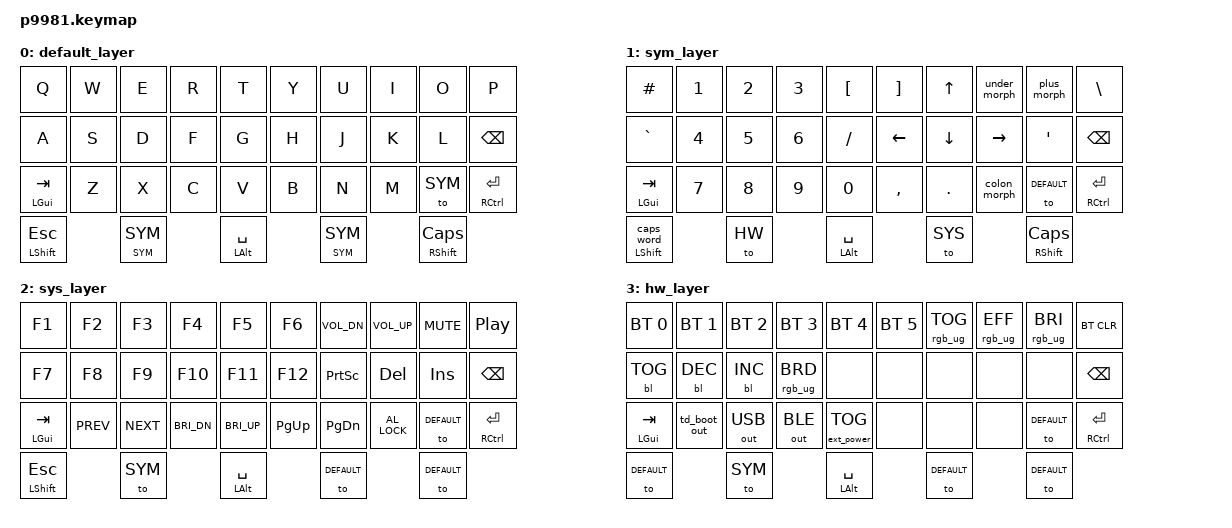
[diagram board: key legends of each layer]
/*
 * Copyright (c) 2023-2025 ZitaoTech
 * Customized for PilotXing (with hardware-safe mod-morph)
 * SPDX-License-Identifier: MIT
 */

#include <behaviors.dtsi>
#include <dt-bindings/zmk/keys.h>
#include <dt-bindings/zmk/bt.h>
#include <dt-bindings/zmk/outputs.h>
#include <dt-bindings/zmk/mouse.h>
#include <dt-bindings/zmk/backlight.h>
#include <dt-bindings/zmk/ext_power.h>
#include <dt-bindings/zmk/rgb.h>

#define DEFAULT 0
#define SYM     1
#define SYS     2
#define HW      3

#define SL_MO(layer) &sl_mo layer layer

&sl {
    release-after-ms = <3000>;
};

&mt {
    flavor = "balanced";
    tapping-term-ms = <200>;
    quick-tap-ms = <150>;
};

/ {
    behaviors {
        // --- 1. Original Factory Behaviors (Preserved 100% in exact order to prevent ID shifting) ---
        td0: tap_dance_0 {
            compatible = "zmk,behavior-tap-dance";
            #binding-cells = <0>;
            tapping-term-ms = <400>;
            bindings = <&mkp LCLK>, <&bt BT_CLR>;
        };

        td_boot_out: td_boot_out {
            compatible = "zmk,behavior-tap-dance";
            #binding-cells = <0>;
            tapping-term-ms = <400>;            
            bindings = <&bootloader>, <&out OUT_TOG>;
        };

        tdc_to_SYM: td_comma_to_layer {
            compatible = "zmk,behavior-tap-dance";
            #binding-cells = <0>;
            tapping-term-ms = <400>;
            bindings = <&kp SEMI>, <&to SYM>;
        };

        tdc_to_MEDIA: td_mute_to_layer {
            compatible = "zmk,behavior-tap-dance";
            #binding-cells = <0>;
            tapping-term-ms = <400>;
            bindings = <&kp C_MUTE>, <&to SYS>;
        };

        td_kp_bleclear: td_kp_bleclear {
            compatible = "zmk,behavior-tap-dance";
            #binding-cells = <0>;
            tapping-term-ms = <400>;            
            bindings = <&kp SPACE>, <&bt BT_CLR>;
        };

        hm: homerow_mods {
            compatible = "zmk,behavior-hold-tap";
            #binding-cells = <2>;
            tapping-term-ms = <400>;
            bindings = <&kp>, <&kp>;
        };
    
        sl_mo: behavior_sl_mo {
            compatible = "zmk,behavior-hold-tap";
            #binding-cells = <2>;
            flavor = "hold-preferred";
            tapping-term-ms = <450>;
            bindings = <&mo>, <&sl>;
        };

        sk_kp: behavior_sk_kp {
            compatible = "zmk,behavior-hold-tap";
            #binding-cells = <2>;
            flavor = "hold-preferred";
            tapping-term-ms = <450>;
            bindings = <&kp>, <&sk>;
        };

        // --- 2. Custom Mod-Morphs appended at end (Tap unshifted, Shift consumed & inverted) ---
        under_morph: under_morph {
            compatible = "zmk,behavior-mod-morph";
            #binding-cells = <0>;
            bindings = <&kp UNDER>, <&kp MINUS>;
            mods = <(MOD_LSFT|MOD_RSFT)>;
        };

        plus_morph: plus_morph {
            compatible = "zmk,behavior-mod-morph";
            #binding-cells = <0>;
            bindings = <&kp PLUS>, <&kp EQUAL>;
            mods = <(MOD_LSFT|MOD_RSFT)>;
        };

        colon_morph: colon_morph {
            compatible = "zmk,behavior-mod-morph";
            #binding-cells = <0>;
            bindings = <&kp COLON>, <&kp SEMI>;
            mods = <(MOD_LSFT|MOD_RSFT)>;
        };

        caps_ht: caps_hold_tap {
            compatible = "zmk,behavior-hold-tap";
            #binding-cells = <2>;
            flavor = "tap-preferred";
            tapping-term-ms = <200>;
            bindings = <&kp>, <&caps_word>;
        };
    };

    combos {
        compatible = "zmk,combos";
        combo_caps_word {
            timeout-ms = <150>;
            key-positions = <30 34>;
            bindings = <&caps_word>;
            layers = <0>;
        };

        combo_caps_lock {
            timeout-ms = <100>;
            key-positions = <31 33>;
            bindings = <&kp CAPSLOCK>;
            layers = <0>;
        };
    };

    keymap {
        compatible = "zmk,keymap";

        default_layer {
            bindings = <
// --------------------------------------------------------------------------------------------------------------------------
// |  Q   |  W   |  E   |  R   |  T   |  Y   |  U   |  I   |  O   |     P      |
// |  A   |  S   |  D   |  F   |  G   |  H   |  J   |  K   |  L   | Backspace  |
// | Cmd  |  Z   |  X   |  C   |  V   |  B   |  N   |  M   | TO 1 | RCtrl/Ent  |
// | LShift/Esc | SL/MO L1 | LAlt/Space | SL/MO L1 | RShift/Caps |
// --------------------------------------------------------------------------------------------------------------------------
    &kp Q        &kp W      &kp E       &kp R     &kp T         &kp Y             &kp U            &kp I            &kp O            &kp P
    &kp A        &kp S      &kp D       &kp F     &kp G         &kp H             &kp J            &kp K            &kp L            &kp BSPC
    &mt LGUI TAB &kp Z      &kp X       &kp C     &kp V         &kp B             &kp N            &kp M            &to SYM          &mt RCTRL ENTER
    &mt LSHFT ESC           &sl_mo SYM SYM        &mt LALT SPACE                  &sl_mo SYM SYM                    &mt RSHFT CLCK
            >;
        };

        sym_layer {
            bindings = <
// --------------------------------------------------------------------------------------------------------------------------
// |  #   |  1   |  2   |  3   |  [ { |  ] } |  ↑   | _ -  | + =  |     \ |    |
// |  ` ~ |  4   |  5   |  6   |  / ? |  ←   |  ↓   |  →   | ' "  | Backspace  |
// | Cmd  |  7   |  8   | 9 (  | 0 )  | , <  | . >  | : ;  | TO 0 | RCtrl/Ent  |
// | LShift/Esc |  TO 3   | LAlt/Space |   TO 2   | RShift/Caps |
// --------------------------------------------------------------------------------------------------------------------------
    &kp HASH     &kp N1     &kp N2      &kp N3    &kp LBKT      &kp RBKT          &kp UP           &under_morph     &plus_morph      &kp BSLH
    &kp GRAVE    &kp N4     &kp N5      &kp N6    &kp FSLH      &kp LEFT          &kp DOWN         &kp RIGHT        &kp APOS         &kp BSPC
    &mt LGUI TAB &kp N7     &kp N8      &kp N9    &kp N0        &kp COMMA         &kp DOT          &colon_morph     &to DEFAULT      &mt RCTRL ENTER
    &caps_ht LSHFT 0        &to HW                &mt LALT SPACE                  &to SYS                           &mt RSHFT CAPSLOCK
            >;
        };

        sys_layer {
            bindings = <
// --------------------------------------------------------------------------------------------------------------------------
// |  F1  |  F2  |  F3  |  F4  |  F5  |  F6  | Vol- | Vol+ | Mute | Play/Pause |
// |  F7  |  F8  |  F9  | F10  | F11  | F12  | PrtSc| Del  | Ins  | Backspace  |
// | Cmd  | Prev | Next | Bri- | Bri+ | PgUp | PgDn | Lock | TO 0 | RCtrl/Ent  |
// | LShift/Esc |  TO 1   | LAlt/Space |   TO 0   |   TO 0      |
// --------------------------------------------------------------------------------------------------------------------------
    &kp F1       &kp F2     &kp F3      &kp F4       &kp F5       &kp F6          &kp C_VOL_DN     &kp C_VOL_UP     &kp C_MUTE       &kp C_PP
    &kp F7       &kp F8     &kp F9      &kp F10      &kp F11      &kp F12         &kp PRINTSCREEN  &kp DEL          &kp INS          &kp BSPC
    &mt LGUI TAB &kp C_PREV &kp C_NEXT  &kp C_BRI_DN &kp C_BRI_UP &kp PG_UP       &kp PG_DN        &kp C_AL_LOCK    &to DEFAULT      &mt RCTRL ENTER
    &mt LSHFT ESC           &to SYM                  &mt LALT SPACE               &to DEFAULT                       &to DEFAULT
            >;
        };

        hw_layer {
            bindings = <
// --------------------------------------------------------------------------------------------------------------------------
// | BT 0 | BT 1 | BT 2 | BT 3 | BT 4 | BT 5 | RGB  | EFF  | BRI+ | BT CLR     |
// | BL Tg| BL - | BL + | RGB- | none | none | none | none | none | Backspace  |
// | Cmd  | Flash| USB  | BLE  | Pwr  | none | none | none | TO 0 | RCtrl/Ent  |
// | TO 0       |  TO 1   | LAlt/Space |   TO 0   |   TO 0      |
// --------------------------------------------------------------------------------------------------------------------------
    &bt BT_SEL 0 &bt BT_SEL 1 &bt BT_SEL 2 &bt BT_SEL 3 &bt BT_SEL 4 &bt BT_SEL 5 &rgb_ug RGB_TOG  &rgb_ug RGB_EFF  &rgb_ug RGB_BRI  &bt BT_CLR
    &bl BL_TOG   &bl BL_DEC   &bl BL_INC   &rgb_ug RGB_BRD &none     &none        &none            &none            &none            &kp BSPC
    &mt LGUI TAB &td_boot_out &out OUT_USB &out OUT_BLE &ext_power EP_TOG &none   &none            &none            &to DEFAULT      &mt RCTRL ENTER
    &to DEFAULT               &to SYM                   &mt LALT SPACE                &to DEFAULT                       &to DEFAULT
            >;
        };
    };
};
